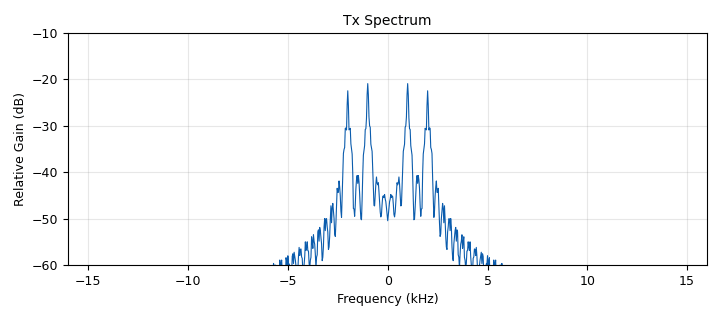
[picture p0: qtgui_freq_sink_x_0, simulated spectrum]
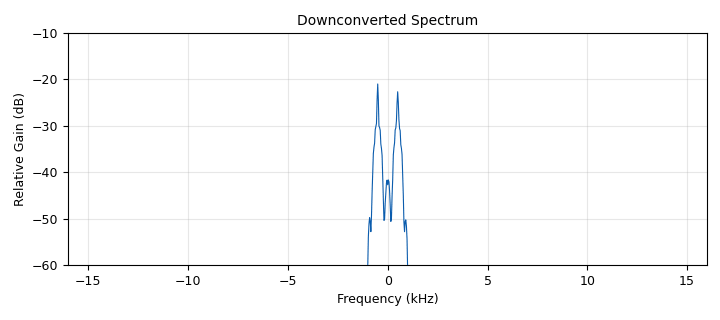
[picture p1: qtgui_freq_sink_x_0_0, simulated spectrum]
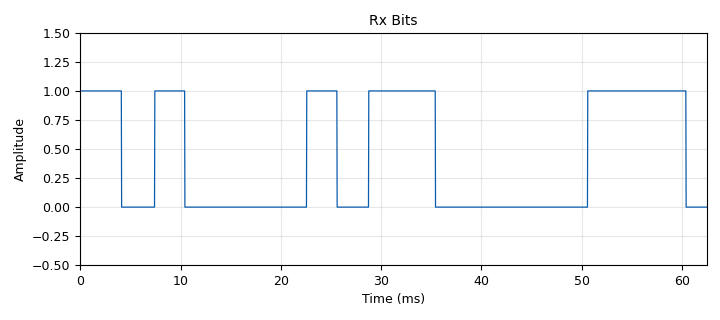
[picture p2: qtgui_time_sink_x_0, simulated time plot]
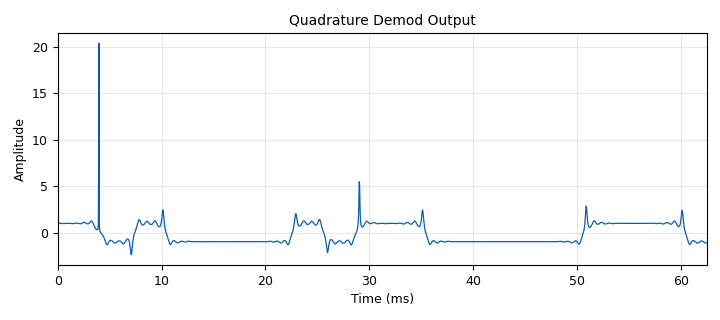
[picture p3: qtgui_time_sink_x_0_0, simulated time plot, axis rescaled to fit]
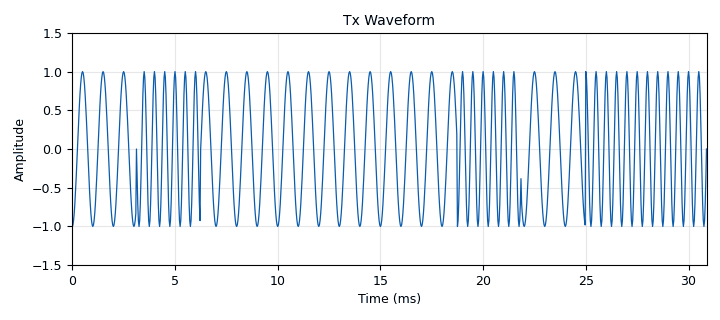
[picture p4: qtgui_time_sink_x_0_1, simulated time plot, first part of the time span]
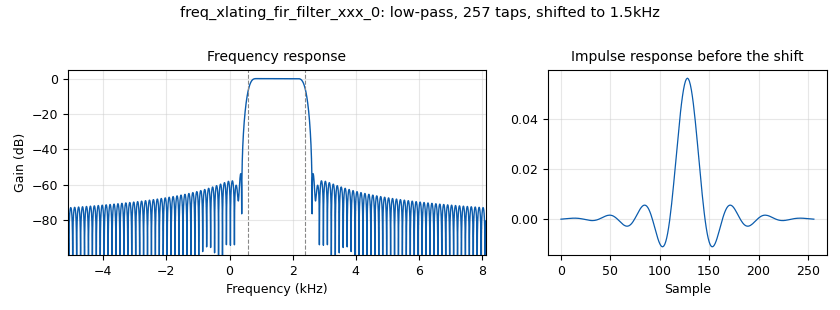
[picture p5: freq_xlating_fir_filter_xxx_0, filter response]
options:
  parameters:
    generate_options: qt_gui
    id: fsk
    output_language: python
    title: FSK
  states: {}

blocks:
- name: center_freq
  id: variable
  parameters:
    value: '1500'
  states: {}
- name: fsk_deviation
  id: variable
  parameters:
    value: '500'
  states: {}
- name: ndisp
  id: variable
  parameters:
    value: '2000'
  states: {}
- name: samp_rate
  id: variable
  parameters:
    value: '32000'
  states: {}
- name: analog_const_source_x_0
  id: analog_const_source_x
  parameters:
    const: '1'
    type: float
  states: {}
- name: analog_quadrature_demod_cf_0
  id: analog_quadrature_demod_cf
  parameters:
    gain: '10'
  states: {}
- name: analog_random_source_x_0
  id: analog_random_source_x
  parameters:
    comment: Bits Generation
    max: '2'
    min: '0'
    num_samps: '1000'
    repeat: 'True'
    type: byte
  states: {}
- name: analog_sig_source_x_0
  id: analog_sig_source_x
  parameters:
    amp: '1'
    freq: center_freq+fsk_deviation
    offset: '0'
    phase: '0'
    samp_rate: samp_rate
    type: float
    waveform: analog.GR_COS_WAVE
  states: {}
- name: analog_sig_source_x_0_0
  id: analog_sig_source_x
  parameters:
    amp: '1'
    freq: center_freq-fsk_deviation
    offset: '0'
    phase: '0'
    samp_rate: samp_rate
    type: float
    waveform: analog.GR_COS_WAVE
  states: {}
- name: blocks_add_xx_0
  id: blocks_add_xx
  parameters:
    type: float
  states: {}
- name: blocks_char_to_float_0
  id: blocks_char_to_float
  parameters:
    scale: '1'
  states: {}
- name: blocks_char_to_float_0_0
  id: blocks_char_to_float
  parameters:
    scale: '1'
  states: {}
- name: blocks_multiply_xx_0
  id: blocks_multiply_xx
  parameters:
    type: float
  states: {}
- name: blocks_multiply_xx_0_0
  id: blocks_multiply_xx
  parameters:
    type: float
  states: {}
- name: blocks_repeat_0
  id: blocks_repeat
  parameters:
    interp: '100'
    type: byte
  states: {}
- name: blocks_sub_xx_0
  id: blocks_sub_xx
  parameters:
    type: float
  states: {}
- name: blocks_throttle_0
  id: blocks_throttle
  parameters:
    samples_per_second: samp_rate
    type: float
  states: {}
- name: digital_binary_slicer_fb_0
  id: digital_binary_slicer_fb
  parameters: {}
  states: {}
- name: freq_xlating_fir_filter_xxx_0
  id: freq_xlating_fir_filter_xxx
  parameters:
    center_freq: center_freq
    decim: '1'
    samp_rate: samp_rate
    taps: firdes.low_pass(1.0,samp_rate,900,300)
    type: fcf
  states: {}
- name: qtgui_freq_sink_x_0
  id: qtgui_freq_sink_x
  parameters:
    average: '0.1'
    bw: samp_rate
    fc: '0'
    fftsize: '1024'
    grid: 'True'
    legend: 'False'
    name: Tx Spectrum
    type: float
    ymax: '-10'
    ymin: '-60'
  states: {}
- name: qtgui_freq_sink_x_0_0
  id: qtgui_freq_sink_x
  parameters:
    average: '0.1'
    bw: samp_rate
    fc: '0'
    fftsize: '1024'
    grid: 'True'
    legend: 'False'
    name: Downconverted Spectrum
    type: complex
    ymax: '-10'
    ymin: '-60'
  states: {}
- name: qtgui_time_sink_x_0
  id: qtgui_time_sink_x
  parameters:
    grid: 'True'
    legend: 'False'
    name: Rx Bits
    size: ndisp
    srate: samp_rate
    type: float
    ymax: '1.5'
    ymin: '-0.5'
  states: {}
- name: qtgui_time_sink_x_0_0
  id: qtgui_time_sink_x
  parameters:
    grid: 'True'
    legend: 'False'
    name: Quadrature Demod Output
    size: ndisp
    srate: samp_rate
    type: float
    ymax: '1.5'
    ymin: '-1.5'
  states: {}
- name: qtgui_time_sink_x_0_1
  id: qtgui_time_sink_x
  parameters:
    grid: 'True'
    legend: 'False'
    name: Tx Waveform
    size: ndisp
    srate: samp_rate
    type: float
    ymax: '1.5'
    ymin: '-1.5'
  states: {}

connections:
- [analog_const_source_x_0, '0', blocks_sub_xx_0, '0']
- [analog_quadrature_demod_cf_0, '0', digital_binary_slicer_fb_0, '0']
- [analog_quadrature_demod_cf_0, '0', qtgui_time_sink_x_0_0, '0']
- [analog_random_source_x_0, '0', blocks_repeat_0, '0']
- [analog_sig_source_x_0, '0', blocks_multiply_xx_0, '0']
- [analog_sig_source_x_0_0, '0', blocks_multiply_xx_0_0, '1']
- [blocks_add_xx_0, '0', blocks_throttle_0, '0']
- [blocks_add_xx_0, '0', qtgui_time_sink_x_0_1, '0']
- [blocks_char_to_float_0, '0', blocks_multiply_xx_0, '1']
- [blocks_char_to_float_0, '0', blocks_sub_xx_0, '1']
- [blocks_char_to_float_0_0, '0', qtgui_time_sink_x_0, '0']
- [blocks_multiply_xx_0, '0', blocks_add_xx_0, '0']
- [blocks_multiply_xx_0_0, '0', blocks_add_xx_0, '1']
- [blocks_repeat_0, '0', blocks_char_to_float_0, '0']
- [blocks_sub_xx_0, '0', blocks_multiply_xx_0_0, '0']
- [blocks_throttle_0, '0', freq_xlating_fir_filter_xxx_0, '0']
- [blocks_throttle_0, '0', qtgui_freq_sink_x_0, '0']
- [digital_binary_slicer_fb_0, '0', blocks_char_to_float_0_0, '0']
- [freq_xlating_fir_filter_xxx_0, '0', analog_quadrature_demod_cf_0, '0']
- [freq_xlating_fir_filter_xxx_0, '0', qtgui_freq_sink_x_0_0, '0']

metadata:
  file_format: 1
